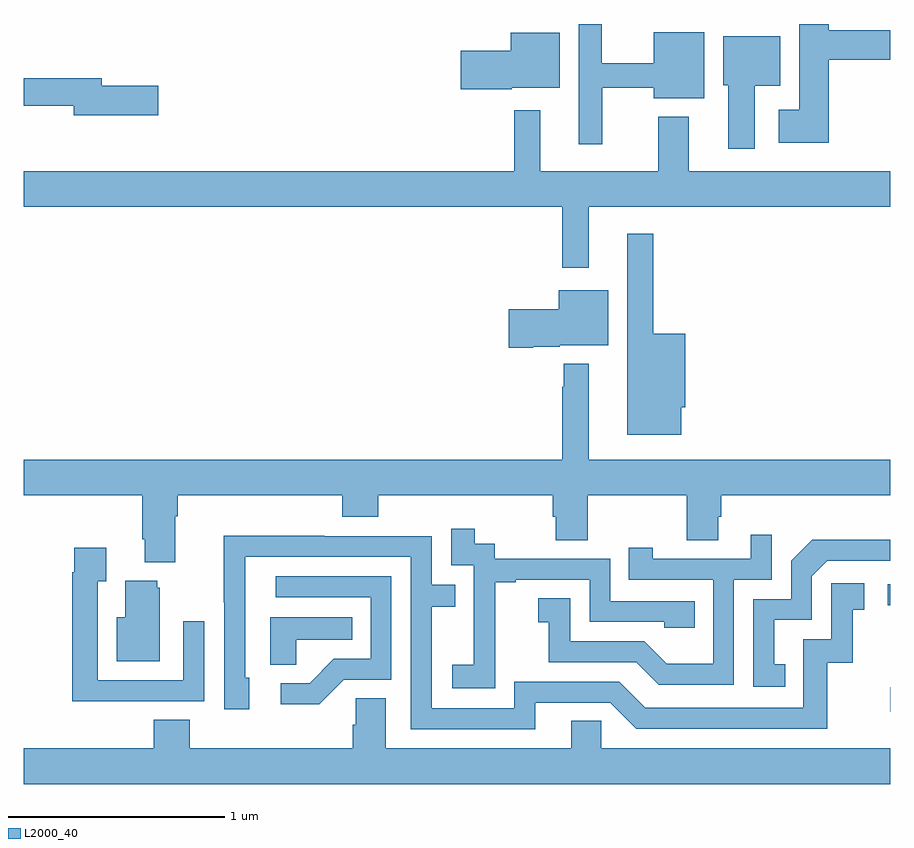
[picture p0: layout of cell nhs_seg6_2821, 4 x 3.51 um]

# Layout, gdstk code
import gdstk
lib = gdstk.Library(unit=1e-6, precision=1e-09)
def R(c, l, rs):  # rectangles x0, y0, x1, y1
    for r in rs: c.add(gdstk.rectangle(r[:2], r[2:], *l))
def P(c, l, *ps):  # polygons
    for p in ps: c.add(gdstk.Polygon(p, *l))
L2000_40 = (2000, 40)

nhs_seg6_2821 = lib.new_cell('nhs_seg6_2821')
R(nhs_seg6_2821, L2000_40, [(280.999,958.326,281,958.438), (280.989,958.818,281,958.914)])
P(nhs_seg6_2821, L2000_40, [(279.67,961.206),(279.908,961.206),(279.908,961.157),(280.141,961.157),(280.141,961.462),(279.908,961.462),(279.908,961.319),(279.667,961.319),(279.667,961.5),(279.563,961.5),(279.563,960.945),(279.67,960.945)],
  [(280.715,961.336),(281,961.336),(281,961.472),(280.715,961.472),(280.715,961.5),(280.58,961.5),(280.58,961.105),(280.485,961.105),(280.485,960.953),(280.715,960.953)],
  [(279.252,961.205),(279.475,961.205),(279.475,961.459),(279.248,961.459),(279.248,961.376),(279.018,961.376),(279.018,961.198),(279.252,961.198)],
  [(280.375,961.214),(280.492,961.214),(280.492,961.444),(280.229,961.444),(280.229,961.218),(280.253,961.218),(280.253,960.924),(280.375,960.924)],
  [(277.621,961.214),(277.36,961.214),(277.36,961.25),(277,961.25),(277,961.122),(277.232,961.122),(277.232,961.079),(277.621,961.079)],
  [(279.607,960.656),(281,960.656),(281,960.82),(280.069,960.82),(280.069,961.072),(279.929,961.072),(279.929,960.82),(279.385,960.82),(279.385,961.102),(279.264,961.102),(279.264,960.82),(277,960.82),(277,960.656),(279.486,960.656),(279.486,960.375),(279.607,960.375)],
  [(280.036,959.73),(280.054,959.73),(280.054,960.07),(279.907,960.07),(279.907,960.532),(279.785,960.532),(279.785,959.603),(280.036,959.603)],
  [(279.352,960.011),(279.474,960.011),(279.474,960.017),(279.697,960.017),(279.697,960.271),(279.47,960.271),(279.47,960.183),(279.24,960.183),(279.24,960.005),(279.352,960.005)],
  [(277.699,959.228),(277.712,959.228),(277.712,959.324),(278.471,959.324),(278.471,959.225),(278.636,959.225),(278.636,959.324),(279.443,959.324),(279.443,959.226),(279.455,959.226),(279.455,959.116),(279.603,959.116),(279.603,959.324),(280.06,959.324),(280.06,959.116),(280.207,959.116),(280.207,959.226),(280.22,959.226),(280.22,959.324),(281,959.324),(281,959.488),(279.607,959.488),(279.607,959.932),(279.493,959.932),(279.493,959.825),(279.486,959.825),(279.486,959.488),(277,959.488),(277,959.324),(277.547,959.324),(277.547,959.122),(277.559,959.122),(277.559,959.015),(277.699,959.015)],
  [(279.177,958.639),(279.176,958.639),(279.176,958.923),(279.271,958.923),(279.271,958.935),(279.612,958.935),(279.612,958.74),(279.957,958.74),(279.957,958.713),(280.097,958.713),(280.097,958.836),(279.708,958.836),(279.708,959.031),(279.174,959.031),(279.174,959.1),(279.082,959.1),(279.082,959.17),(278.973,959.17),(278.973,959.001),(279.078,959.001),(279.078,958.772),(279.077,958.772),(279.077,958.543),(278.979,958.543),(278.979,958.433),(279.177,958.433)],
  [(280.278,958.935),(280.452,958.935),(280.452,959.143),(280.355,959.143),(280.355,959.031),(279.904,959.031),(279.904,959.083),(279.793,959.083),(279.793,958.935),(280.182,958.935),(280.182,958.546),(279.968,958.546),(279.864,958.65),(279.522,958.65),(279.522,958.849),(279.375,958.849),(279.375,958.739),(279.424,958.739),(279.424,958.554),(279.827,958.554),(279.932,958.449),(280.278,958.449)],
  [(279.361,958.368),(279.708,958.368),(279.828,958.248),(280.708,958.248),(280.708,958.551),(280.826,958.551),(280.826,958.797),(280.879,958.797),(280.879,958.918),(280.728,958.918),(280.728,958.659),(280.599,958.659),(280.599,958.344),(279.87,958.344),(279.75,958.464),(279.264,958.464),(279.264,958.341),(278.883,958.341),(278.883,958.81),(278.993,958.81),(278.993,958.911),(278.883,958.911),(278.883,959.136),(278.387,959.136),(278.387,959.138),(277.924,959.138),(277.924,958.831),(277.926,958.831),(277.926,958.338),(278.041,958.338),(278.041,958.482),(278.022,958.482),(278.022,959.04),(278.787,959.04),(278.787,958.245),(279.361,958.245)],
  [(280.514,958.545),(280.465,958.545),(280.465,958.749),(280.638,958.749),(280.638,958.95),(280.71,959.022),(281,959.022),(281,959.12),(280.64,959.12),(280.542,959.022),(280.542,958.845),(280.368,958.845),(280.368,958.44),(280.514,958.44)],
  [(277.517,958.374),(277.833,958.374),(277.833,958.744),(277.737,958.744),(277.737,958.47),(277.341,958.47),(277.341,958.927),(277.381,958.927),(277.381,959.083),(277.233,959.083),(277.233,958.97),(277.225,958.97),(277.225,958.373),(277.517,958.373)],
  [(278.478,958.473),(278.697,958.473),(278.697,958.95),(278.163,958.95),(278.163,958.854),(278.601,958.854),(278.601,958.569),(278.432,958.569),(278.321,958.458),(278.187,958.458),(278.187,958.361),(278.365,958.361)],
  [(277.627,958.899),(277.616,958.899),(277.616,958.93),(277.469,958.93),(277.469,958.762),(277.43,958.762),(277.43,958.559),(277.627,958.559)],
  [(278.259,958.658),(278.516,958.658),(278.516,958.762),(278.138,958.762),(278.138,958.543),(278.259,958.543)],
  [(281,958.156),(279.666,958.156),(279.666,958.283),(279.527,958.283),(279.527,958.156),(278.671,958.156),(278.671,958.388),(278.532,958.388),(278.532,958.265),(278.519,958.265),(278.519,958.156),(277.766,958.156),(277.766,958.289),(277.601,958.289),(277.601,958.156),(277,958.156),(277,957.992),(281,957.992)])

lib.write_gds('nhs_seg6_2821.gds')
